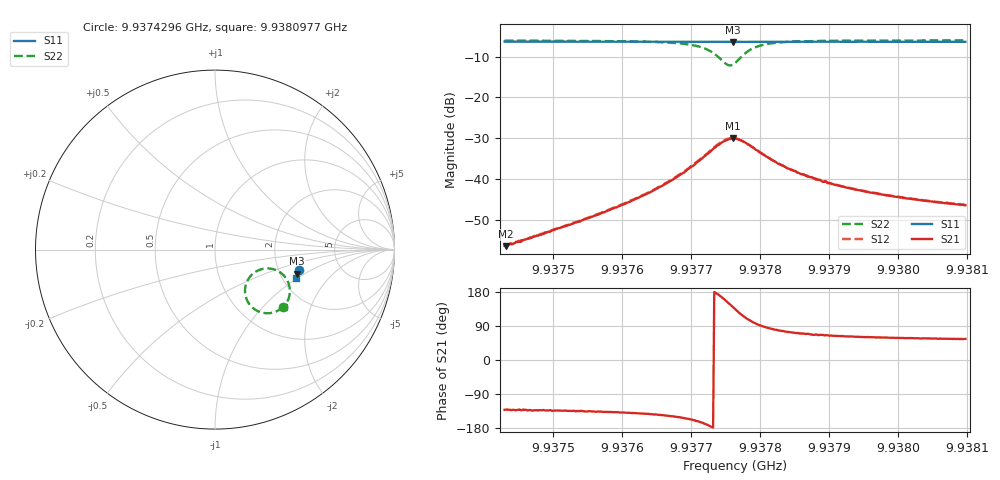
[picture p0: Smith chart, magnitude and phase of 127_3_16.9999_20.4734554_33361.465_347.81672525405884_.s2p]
#  HZ  S  RI  R  50.00
! Rohde & Schwarz Vector Network Analyzer
! Rohde-Schwarz,ZNB20-2Port,1311601062101988,3.16
! Created: UTC 3/20/2024, 10:57:48 PM
! freq[Hz]  re:S11  im:S11  re:S21  im:S21  re:S12  im:S12  re:S22  im:S22
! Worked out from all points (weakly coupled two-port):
!   401 points, 9.9374296 GHz to 9.9380977 GHz, reference 50 ohm
!   highest |S21| = -30.07 dB at 9.9377603 GHz (marker M1); lowest = -56.5 dB at 9.9374313 GHz (marker M2)
!   lowest |S11| = -6.4 dB at 9.9377603 GHz (marker M3), VSWR 2.83, Z = 124 - j43.2 ohm
!   |S11| at or under -10 dB: nowhere
!   |S22| runs from -12.2 to -6.0 dB; largest |S21 - S12| = 0.0016
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9.9374296e9  0.4691 -0.1149  -0.000999 -0.00113  -0.00101 -0.00113  0.3795 -0.3203
9.93743127e9  0.469 -0.1149  -0.00099 -0.00113  -0.00106 -0.00112  0.3794 -0.3203
9.93754151e9  0.4665 -0.1224  -0.00217 -0.00223  -0.00226 -0.00216  0.3631 -0.3327
9.93760164e9  0.4651 -0.1265  -0.00366 -0.00322  -0.00378 -0.00321  0.3471 -0.3421
9.93765341e9  0.4636 -0.1303  -0.00642 -0.00457  -0.00659 -0.00454  0.3208 -0.3513
9.93768849e9  0.4623 -0.1326  -0.0106 -0.00542  -0.0109 -0.00539  0.2841 -0.3545
9.93770686e9  0.4614 -0.1339  -0.0146 -0.00513  -0.015 -0.00504  0.2512 -0.3479
9.93772022e9  0.4606 -0.1345  -0.0188 -0.00373  -0.0194 -0.00338  0.2186 -0.3307
9.93773192e9  0.4597 -0.1351  -0.0234 -0.000746  -0.0239 8.79e-06  0.1868 -0.2971
9.93774361e9  0.4587 -0.1352  -0.0269 0.00625  -0.0274 0.00731  0.1673 -0.2369
9.93775363e9  0.4585 -0.1349  -0.0267 0.0147  -0.0267 0.0159  0.1823 -0.17
9.93776031e9  0.4585 -0.1346  -0.0241 0.02  -0.0236 0.0214  0.2144 -0.132
9.93776365e9  0.4588 -0.1345  -0.0217 0.0219  -0.0211 0.0234  0.2353 -0.1186
9.937772e9  0.4591 -0.1346  -0.0154 0.0255  -0.0145 0.0263  0.2911 -0.1049
9.93778203e9  0.4597 -0.1351  -0.00811 0.0254  -0.0072 0.0257  0.3468 -0.1174
9.9378004e9  0.4605 -0.1366  -0.000449 0.0211  9.57e-05 0.0212  0.3991 -0.1653
9.93781877e9  0.4604 -0.1381  0.00258 0.0166  0.00301 0.0166  0.4147 -0.2047
9.93784215e9  0.46 -0.1402  0.0037 0.0128  0.00411 0.0127  0.417 -0.2377
9.93787556e9  0.4593 -0.1427  0.004 0.00953  0.0043 0.00952  0.4124 -0.265
9.93792734e9  0.458 -0.1463  0.0036 0.00689  0.0038 0.00686  0.4037 -0.2875
9.93798747e9  0.4565 -0.1504  0.00322 0.00533  0.00338 0.00531  0.3956 -0.3021
9.93809771e9  0.4537 -0.1576  0.00268 0.00393  0.00284 0.00392  0.3842 -0.3176
